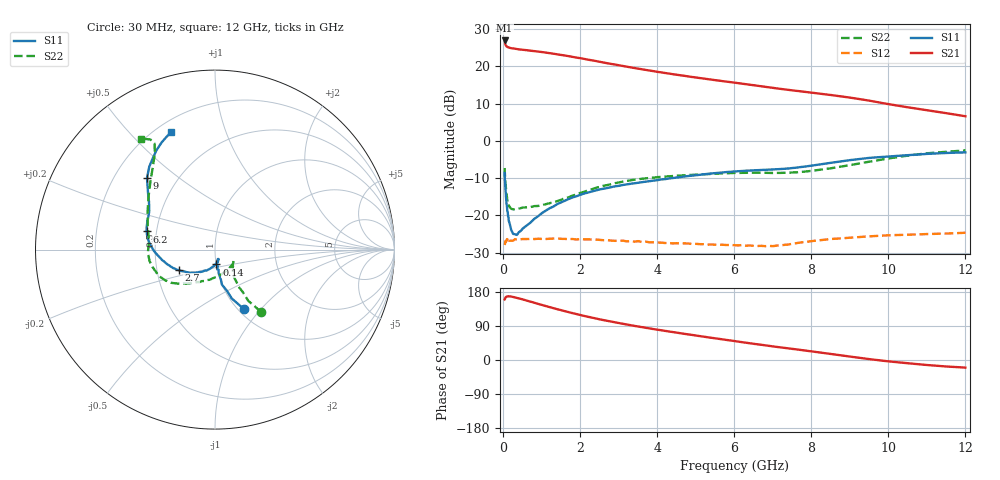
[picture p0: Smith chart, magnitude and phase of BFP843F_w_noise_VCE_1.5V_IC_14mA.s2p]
! Infineon Technologies  Discrete & RF Semiconductors
! BFP843F
! VCE =  1.5 V,  IC =  14 mA
! Common Emitter S-Parameters:  Aug 2013
# GHz  S  MA  R  50
!  f  S11  S21  S12  S22
! GHz  MAG  ANG  MAG  ANG  MAG  ANG  MAG  ANG
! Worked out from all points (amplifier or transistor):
!   103 points, 30 MHz to 12 GHz, reference 50 ohm
!   highest |S21| = 26.9 dB at 30 MHz (marker M1)
!   |S21| within 3 dB of that: start of sweep to 918.2 MHz
!   unconditionally stable (mu >= 1): 144.5 MHz to end of sweep
!   at 400 MHz: K = 1.01, MAG = 24.8 dB, |S12| = -26.5 dB
!   at 3.7 GHz: K = 1.17, MAG = 20.5 dB, |S12| = -27.1 dB
!   at 12 GHz: K = 1.28, MAG = 12.5 dB, |S12| = -24.7 dB
!   lowest NFmin = 0.84 dB at 450 MHz
!   S11 on the Smith chart (normalised r, x): 30 MHz: 1.06, -0.82; 140 MHz: 1.00, -0.17; 2.7 GHz: 0.65, -0.16; 6.2 GHz: 0.44, +0.11; 9 GHz: 0.34, +0.39; 12 GHz: 0.26, +0.66
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0.03  0.3697 -64.0  22.16 159.8  0.0401 27.5  0.4315 -53.5
0.04  0.2875 -71.1  20.57 161.3  0.0414 20.2  0.34 -57.0
0.05  0.2398 -73.7  19.57 164.3  0.0449 19.5  0.2821 -56.8
0.06  0.199 -78.8  19.11 165.5  0.0449 17.6  0.2457 -57.5
0.08  0.1428 -80.5  18.48 167.0  0.0465 11.4  0.1904 -55.6
0.14  0.0829 -84.5  17.81 168.0  0.0459 8.6  0.137 -42.6
0.3  0.0558 -69.5  17.17 165.2  0.0479 3.7  0.1198 -31.4
0.9  0.0973 -98.5  15.74 148.1  0.0485 0.8  0.1336 -61.7
1.2  0.1246 -111.3  14.98 139.6  0.0485 0.5  0.1455 -79.8
1.6  0.1576 -126.6  13.91 128.7  0.0483 -0.6  0.1709 -99.9
2.1  0.1964 -139.7  12.53 116.2  0.0476 -1.9  0.2072 -119.0
2.7  0.2328 -150.7  10.96 103.3  0.0465 -2.8  0.2548 -132.3
3.4  0.269 -160.8  9.473 90.1  0.0444 -3.3  0.3012 -141.9
4.1  0.3031 -169.6  8.272 78.4  0.043 -1.7  0.328 -149.2
5  0.3454 179.8  7.068 64.6  0.0415 0.2  0.3509 -158.8
6.1  0.3906 166.7  5.931 48.5  0.0395 4.7  0.3703 -172.0
6.2  0.3933 165.1  5.834 47.0  0.04 5.4  0.3716 -173.2
7.2  0.4181 152.0  4.971 33.3  0.0395 14.0  0.3711 174.3
8.5  0.506 137.8  4.114 16.0  0.0481 18.7  0.4273 151.6
9  0.5503 133.5  3.797 9.1  0.0501 18.5  0.4716 141.8
10.5  0.6412 120.7  2.816 -8.5  0.055 17.0  0.6321 122.0
12  0.6991 110.3  2.133 -20.1  0.0584 19.0  0.7439 123.8
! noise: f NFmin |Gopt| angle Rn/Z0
0.45  0.84  0.01  87  0.03
0.9  0.84  0.02  98  0.04
1.5  0.87  0.03  107  0.05
1.9  0.92  0.04  119  0.05
2.4  0.96  0.05  136  0.07
3.5  1.01  0.08  154  0.12
5.5  1.11  0.17  -161  0.2
10  1.66  0.36  -110  0.3
